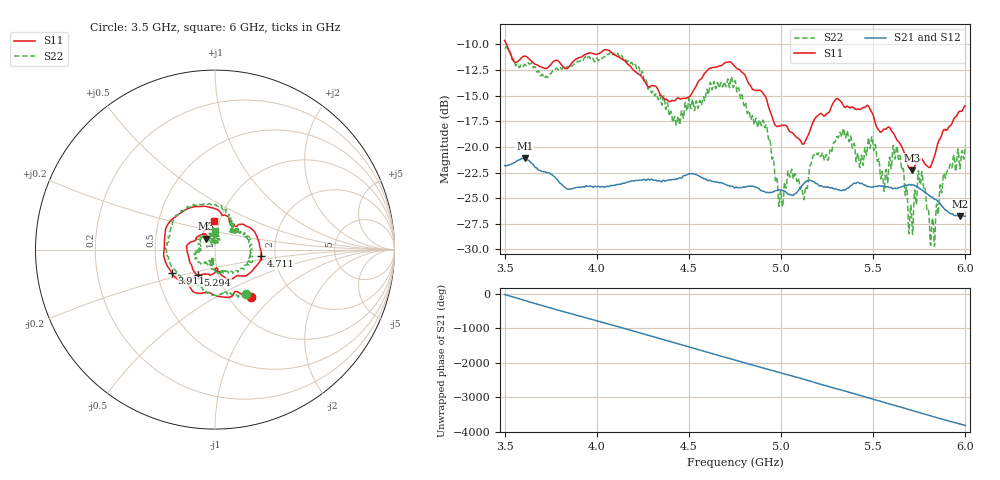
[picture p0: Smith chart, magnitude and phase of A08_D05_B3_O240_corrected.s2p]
! Created with skrf 1.9.0 (http://scikit-rf.org).
# Hz S RI R 50.0
!freq ReS11 ImS11 ReS21 ImS21 ReS12 ImS12 ReS22 ImS22
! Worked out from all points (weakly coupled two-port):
!   1601 points, 3.5 GHz to 6 GHz, reference 50 ohm
!   highest |S21| = -21.11 dB at 3.609 GHz (marker M1); lowest = -26.8 dB at 5.97 GHz (marker M2)
!   lowest |S11| = -22.3 dB at 5.713 GHz (marker M3), VSWR 1.17, Z = 45.2 + j5.52 ohm
!   |S11| at or under -10 dB: 3.511 GHz to end of sweep
!   |S22| runs from -29.7 to -10.2 dB; largest |S21 - S12| = 0.00098
!   S11 on the Smith chart (normalised r, x): 3.5 GHz: 1.26, -0.74; 3.911 GHz: 0.59, -0.17; 4.711 GHz: 1.69, -0.13; 5.294 GHz: 0.80, -0.23; 6 GHz: 0.94, +0.30
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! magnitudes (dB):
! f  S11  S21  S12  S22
! 3.5 GHz  -9.6  -21.8  -21.8  -10.3
! 3.609 GHz  -11.1  -21.1  -21.1  -11.9
! 3.911 GHz  -11.3  -23.9  -23.9  -11.6
! 3.917 GHz  -11.2  -23.9  -23.9  -11.5
! 4.334 GHz  -14.5  -23.3  -23.3  -15.4
! 4.441 GHz  -15.2  -23.1  -23.1  -17.0
! 4.711 GHz  -11.7  -23.8  -23.7  -13.4
! 4.75 GHz  -12.2  -24.0  -23.9  -13.5
! 4.914 GHz  -15.0  -24.4  -24.4  -18.1
! 4.998 GHz  -17.9  -24.2  -24.2  -24.2
! 5.048 GHz  -18.5  -24.6  -24.7  -22.9
! 5.13 GHz  -19.5  -23.5  -23.5  -24.3
! 5.167 GHz  -17.8  -23.3  -23.3  -21.4
! 5.294 GHz  -15.4  -24.1  -24.0  -19.5
! 5.584 GHz  -18.1  -23.9  -23.9  -21.8
! 5.636 GHz  -19.5  -24.0  -23.9  -21.1
! 5.713 GHz  -22.3  -23.7  -23.6  -28.4
! 5.755 GHz  -21.2  -24.1  -24.0  -23.7
! 5.822 GHz  -21.4  -24.9  -24.9  -26.9
! 5.873 GHz  -18.7  -25.8  -25.7  -24.3
! 5.97 GHz  -16.5  -26.8  -26.7  -22.1
! 6 GHz  -16.0  -26.7  -26.7  -19.8
